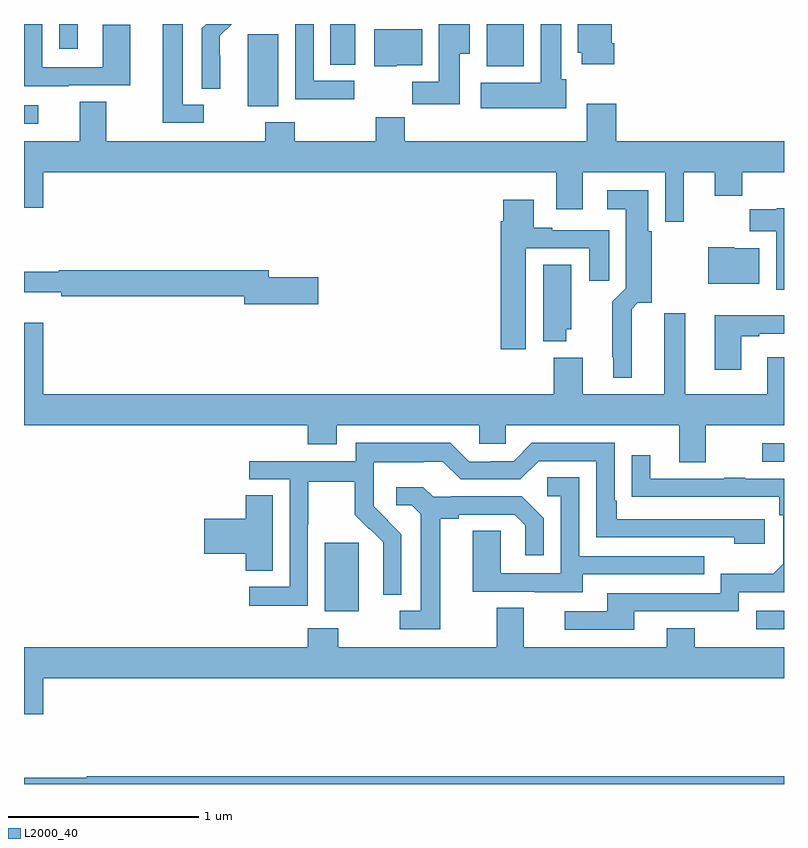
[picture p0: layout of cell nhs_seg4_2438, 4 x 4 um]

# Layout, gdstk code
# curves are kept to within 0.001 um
import gdstk
lib = gdstk.Library(unit=1e-6, precision=1e-09)
def R(c, l, rs):  # rectangles x0, y0, x1, y1
    for r in rs: c.add(gdstk.rectangle(r[:2], r[2:], *l))
def P(c, l, *ps):  # polygons
    for p in ps: c.add(gdstk.Polygon(p, *l))
L2000_40 = (2000, 40)

nhs_seg4_2438 = lib.new_cell('nhs_seg4_2438')
R(nhs_seg4_2438, L2000_40, [(240.855,827.715,241,827.811), (238.583,827.81,238.762,828.171), (240.885,828.597,241,828.693), (237,830.376,237.076,830.472), (238.178,830.468,238.339,830.845), (239.435,830.678,239.631,830.9), (238.613,830.686,238.744,830.9), (237.186,830.769,237.283,830.9)])
P(nhs_seg4_2438, L2000_40, [(237.946,830.475),(237.835,830.475),(237.835,830.9),(237.731,830.9),(237.731,830.379),(237.946,830.379)],
  [(237.235,830.577),(237.559,830.577),(237.559,830.897),(237.414,830.897),(237.414,830.673),(237.096,830.673),(237.096,830.9),(237,830.9),(237,830.573),(237.235,830.573)],
  [(239.854,830.61),(239.827,830.61),(239.827,830.9),(239.72,830.9),(239.72,830.59),(239.403,830.59),(239.403,830.456),(239.854,830.456)],
  [(239.293,830.744),(239.347,830.744),(239.347,830.9),(239.183,830.9),(239.183,830.596),(239.044,830.596),(239.044,830.478),(239.293,830.478)],
  [(238.033,830.732),(238.031,830.732),(238.031,830.837),(238.094,830.9),(237.958,830.9),(237.936,830.878),(237.936,830.56),(238.033,830.56)],
  [(238.738,830.601),(238.524,830.601),(238.524,830.9),(238.428,830.9),(238.428,830.503),(238.738,830.503)],
  [(240.107,830.8),(240.094,830.8),(240.094,830.9),(239.915,830.9),(239.915,830.748),(239.936,830.748),(239.936,830.688),(240.107,830.688)],
  [(238.962,830.684),(239.095,830.684),(239.095,830.872),(238.844,830.872),(238.844,830.678),(238.962,830.678)],
  [(240.472,830.12),(240.635,830.12),(240.635,829.996),(240.779,829.996),(240.779,830.12),(241,830.12),(241,830.284),(240.116,830.284),(240.116,830.479),(239.963,830.479),(239.963,830.284),(239.003,830.284),(239.003,830.408),(238.852,830.408),(238.852,830.284),(238.425,830.284),(238.425,830.383),(238.27,830.383),(238.27,830.284),(237.433,830.284),(237.433,830.492),(237.293,830.492),(237.293,830.284),(237,830.284),(237,829.932),(237.1,829.932),(237.1,830.12),(239.801,830.12),(239.801,829.926),(239.941,829.926),(239.941,830.12),(240.375,830.12),(240.375,829.86),(240.472,829.86)],
  [(240.199,829.4),(240.231,829.433),(240.304,829.433),(240.304,829.809),(240.286,829.809),(240.286,830.026),(240.069,830.026),(240.069,829.925),(240.167,829.925),(240.167,829.508),(240.097,829.438),(240.097,829.147),(240.101,829.147),(240.101,829.037),(240.199,829.037)],
  [(239.641,829.719),(239.975,829.719),(239.975,829.548),(240.079,829.548),(240.079,829.815),(239.779,829.815),(239.779,829.828),(239.683,829.828),(239.683,829.975),(239.522,829.975),(239.522,829.862),(239.51,829.862),(239.51,829.188),(239.641,829.188)],
  [(241,829.93),(240.963,829.93),(240.963,829.926),(240.82,829.926),(240.82,829.808),(240.959,829.808),(240.959,829.502),(241,829.502)],
  [(240.871,829.72),(240.738,829.72),(240.738,829.726),(240.602,829.726),(240.602,829.532),(240.871,829.532)],
  [(239.854,829.293),(239.881,829.293),(239.881,829.634),(239.732,829.634),(239.732,829.229),(239.854,829.229)],
  [(238.549,829.568),(238.288,829.568),(238.288,829.604),(237.184,829.604),(237.184,829.597),(237,829.597),(237,829.487),(237.196,829.487),(237.196,829.468),(238.16,829.468),(238.16,829.426),(238.549,829.426)],
  [(240.589,828.788),(241,828.788),(241,829.147),(240.911,829.147),(240.911,828.952),(240.481,828.952),(240.481,829.378),(240.371,829.378),(240.371,828.952),(239.941,828.952),(239.941,829.144),(239.789,829.144),(239.789,828.952),(237.1,828.952),(237.1,829.327),(237,829.327),(237,828.788),(238.493,828.788),(238.493,828.689),(238.645,828.689),(238.645,828.788),(239.397,828.788),(239.397,828.69),(239.535,828.69),(239.535,828.788),(240.449,828.788),(240.449,828.594),(240.589,828.594)],
  [(240.775,829.257),(240.871,829.257),(240.871,829.269),(241,829.269),(241,829.366),(240.635,829.366),(240.635,829.08),(240.775,829.08)],
  [(238.494,828.268),(238.497,828.268),(238.497,828.492),(238.741,828.492),(238.741,828.317),(238.818,828.24),(238.821,828.243),(238.892,828.173),(238.892,828.05),(238.89,828.05),(238.89,827.896),(238.986,827.896),(238.986,828.214),(238.84,828.362),(238.84,828.459),(238.842,828.459),(238.842,828.593),(239.105,828.593),(239.105,828.597),(239.205,828.597),(239.298,828.504),(239.613,828.504),(239.709,828.6),(240.012,828.6),(240.012,828.198),(240.737,828.198),(240.737,828.164),(240.898,828.164),(240.898,828.294),(240.121,828.294),(240.121,828.391),(240.108,828.391),(240.108,828.696),(239.673,828.696),(239.577,828.6),(239.459,828.6),(239.459,828.597),(239.343,828.597),(239.243,828.697),(238.746,828.697),(238.746,828.6),(238.185,828.6),(238.185,828.504),(238.398,828.504),(238.398,827.937),(238.185,827.937),(238.185,827.839),(238.494,827.839)],
  [(240.211,827.808),(240.762,827.808),(240.762,827.91),(241,827.91),(241,828.507),(240.797,828.507),(240.797,828.512),(240.685,828.512),(240.685,828.507),(240.295,828.507),(240.295,828.631),(240.199,828.631),(240.199,828.412),(240.976,828.411),(240.976,828.314),(240.996,828.314),(240.996,828.06),(240.943,828.007),(240.666,828.007),(240.666,827.904),(240.071,827.904),(240.071,827.808),(239.847,827.808),(239.847,827.712),(240.211,827.712)],
  [(239.941,828.003),(240.581,828.003),(240.581,828.099),(239.922,828.099),(239.922,828.515),(239.754,828.515),(239.754,828.414),(239.826,828.414),(239.826,828.009),(239.508,828.009),(239.508,828.233),(239.363,828.233),(239.363,827.913),(239.687,827.913),(239.687,827.909),(239.941,827.909)],
  [(239.191,828.296),(239.287,828.296),(239.287,828.318),(239.582,828.318),(239.639,828.261),(239.639,828.105),(239.736,828.105),(239.736,828.298),(239.62,828.414),(239.248,828.414),(239.248,828.411),(239.154,828.411),(239.102,828.463),(238.959,828.463),(238.959,828.366),(239.04,828.366),(239.087,828.319),(239.087,827.811),(238.977,827.811),(238.977,827.715),(239.191,827.715)],
  [(238.309,828.419),(238.166,828.419),(238.166,828.296),(237.948,828.296),(237.948,828.113),(238.166,828.113),(238.166,828.022),(238.309,828.022)],
  [(237.1,827.456),(241,827.456),(241,827.62),(240.531,827.62),(240.531,827.719),(240.383,827.719),(240.383,827.62),(239.629,827.62),(239.629,827.828),(239.489,827.828),(239.489,827.62),(238.653,827.62),(238.653,827.719),(238.493,827.719),(238.493,827.62),(237,827.62),(237,827.268),(237.1,827.268)],
  [(241,826.94),(237.329,826.94),(237.329,826.933),(237,826.933),(237,826.9),(241,826.9)])

lib.write_gds('nhs_seg4_2438.gds')
